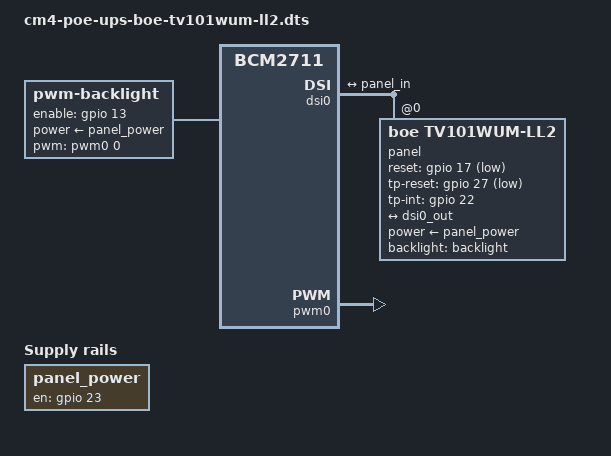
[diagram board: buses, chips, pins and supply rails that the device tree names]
/dts-v1/;
/plugin/;

/ {
    compatible = "brcm,bcm2711";

    /* Фрагмент для включения интерфейса DSI0 */
    fragment@0 {
        target = <&dsi0>;
        __overlay__ {
            #address-cells = <1>;
            #size-cells = <0>;
            status = "okay";

            port {
                dsi0_out: endpoint {
                    remote-endpoint = <&panel_in>;
                };
            };

            /* Описание самой панели */
            panel: panel@0 {
                compatible = "boe,tv101wum-ll2"; // Совместимость с драйвером в ядре
                reg = <0>;
                status = "okay";

                // Ссылки на узлы питания и подсветки
                power-supply = <&panel_power>;
                backlight = <&backlight>;

                // Указание GPIO для сброса дисплея (LCD_RST)
                // Подключен к GPIO17 (Pin 11), активный уровень - низкий
                reset-gpios = <&gpio 17 1>; // 1 = Active Low

                // Указание GPIO для сброса тач-панели (TP_RST)
                // Подключен к GPIO27 (Pin 13), активный уровень - низкий (стандартно)
                tp-reset-gpios = <&gpio 27 1>; // 1 = Active Low

                // Указание GPIO для прерывания от тач-панели (TP_INT)
                // Подключен к GPIO22 (Pin 15)
                tp-int-gpios = <&gpio 22 8>; // 8 = IRQ_TYPE_EDGE_FALLING

                port {
                    panel_in: endpoint {
                        remote-endpoint = <&dsi0_out>;
                    };
                };
            };
        };
    };

    /* Фрагмент для управления питанием панели */
    fragment@1 {
        target = <&gpio>;
        __overlay__ {
            panel_power_pins: panel_power_pins {
                brcm,pins = <23 24>; // GPIO23 (Pin 16), GPIO24 (Pin 18)
                brcm,function = <1>; // 1 = Output
            };
        };
    };

    fragment@2 {
        target-path = "/";
        __overlay__ {
            /* Фиктивный регулятор для управления питанием через GPIO */
            panel_power: panel_power_regulator {
                compatible = "regulator-fixed";
                regulator-name = "panel_power";
                // GPIO для EN+5V8 (GPIO23) и EN-5V8 (GPIO24)
                gpio = <&gpio 23 0>, <&gpio 24 0>; // 0 = Active High
                enable-active-high;
                // Задержка включения, если требуется по спецификации
                startup-delay-us = <5000>; [span_0](start_span)// 5 мс, t3 из спецификации[span_0](end_span)
            };
        };
    };

    /* Фрагмент для управления подсветкой */
    fragment@3 {
        target = <&gpio>;
        __overlay__ {
            backlight_pins: backlight_pins {
                brcm,pins = <13>; // GPIO13 (Pin 33) для BL_EN
                brcm,function = <1>; // 1 = Output
            };
        };
    };

    fragment@4 {
        target-path = "/";
        __overlay__ {
            backlight: backlight {
                compatible = "pwm-backlight";
                // BL_PWM подключен к GPIO18 (Pin 12), который является аппаратным PWM0
                pwms = <&pwm0 0 50000>; // PWM0, канал 0, период 50000 нс (частота 20 кГц)

                // BL_EN подключен к GPIO13 (Pin 33)
                enable-gpios = <&gpio 13 0>; [span_1](start_span)// 0 = Active High[span_1](end_span)

                brightness-levels = <0 4 8 16 32 64 128 255>;
                default-brightness-level = <6>;
                power-supply = <&panel_power>;
                status = "okay";
            };
        };
    };

    /* Включение PWM0 */
    fragment@5 {
        target = <&pwm0>;
        __overlay__ {
            status = "okay";
        };
    };
};
